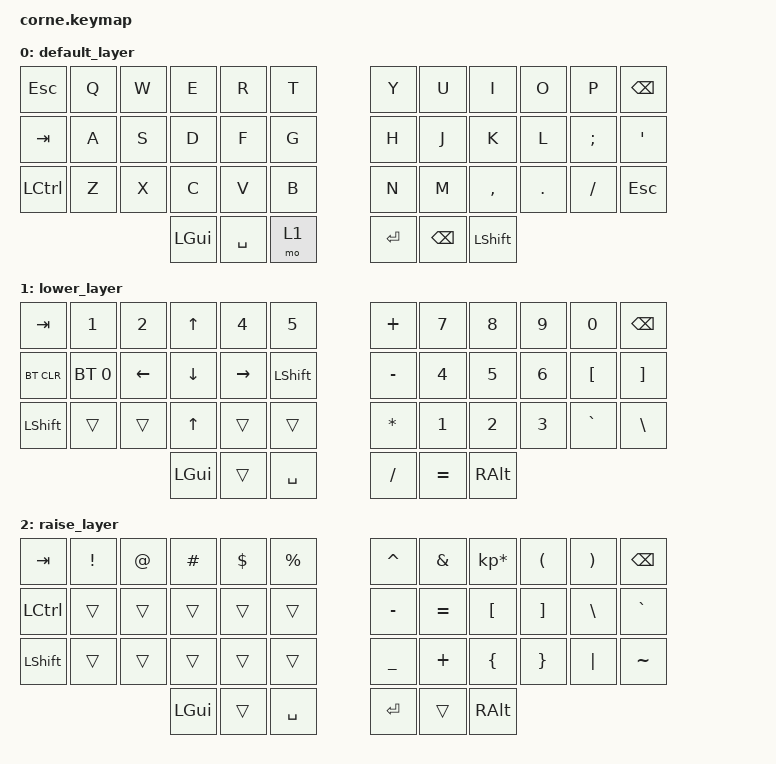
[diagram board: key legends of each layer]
/*
 * Copyright (c) 2020 The ZMK Contributors
 *
 * SPDX-License-Identifier: MIT
 */

#include <behaviors.dtsi>
#include <dt-bindings/zmk/keys.h>
#include <dt-bindings/zmk/bt.h>

/ {
        keymap {
                compatible = "zmk,keymap";

                default_layer {
// -----------------------------------------------------------------------------------------
// |  TAB |  Q  |  W  |  E  |  R  |  T  |   |  Y  |  U   |  I  |  O  |  P  | BKSP |
// | CTRL |  A  |  S  |  D  |  F  |  G  |   |  H  |  J   |  K  |  L  |  ;  |  '   |
// | SHFT |  Z  |  X  |  C  |  V  |  B  |   |  N  |  M   |  ,  |  .  |  /  | ESC  |
//                    | GUI | LWR | SPC |   | ENT | RSE  | ALT |
                        bindings = <
   &kp ESC   &kp Q &kp W &kp E &kp R &kp T   &kp Y &kp U  &kp I     &kp O   &kp P    &kp BSPC
   &kp TAB &kp A &kp S &kp D &kp F &kp G   &kp H &kp J  &kp K     &kp L   &kp SEMI &kp SQT
   &kp LCTRL &kp Z &kp X &kp C &kp V &kp B   &kp N &kp M  &kp COMMA &kp DOT &kp FSLH &kp ESC
                  &kp LGUI &kp SPACE &mo 1   &kp RET &kp BSPC &kp LSHFT
                        >;
                };
                lower_layer {
// -----------------------------------------------------------------------------------------
// |  TAB |  1  |  2  |  3  |  4  |  5  |   |  6  |  7  |  8  |  9  |  0  | BKSP |
// | BTCLR| BT1 | BT2 | BT3 | BT4 | BT5 |   | LFT | DWN |  UP | RGT |     |      |
// | SHFT |     |     |     |     |     |   |     |     |     |     |     |      |
//                    | GUI |     | SPC |   | ENT |     | ALT |
                        bindings = <
   &kp TAB    &kp N1       &kp N2       &kp UP       &kp N4       &kp N5         &kp PLUS   &kp N7   &kp N8 &kp N9    &kp N0 &kp BSPC
   &bt BT_CLR &bt BT_SEL 0 &kp LEFT     &kp DOWN     &kp RIGHT    &kp LSHFT      &kp MINUS &kp N4 &kp N5 &kp N6 &kp LBKT &kp RBKT
   &kp LSHFT  &trans       &trans       &kp UP       &trans       &trans         &kp STAR   &kp N1   &kp N2 &kp N3    &kp GRAVE &kp BSLH
                          	        &kp LGUI     &trans       &kp SPACE      &kp SLASH  &kp EQUAL   &kp RALT
                        >;
                };

                raise_layer {
// -----------------------------------------------------------------------------------------
// |  TAB |  !  |  @  |  #  |  $  |  %  |   |  ^  |  &  |  *  |  (  |  )  | BKSP |
// | CTRL |     |     |     |     |     |   |  -  |  =  |  [  |  ]  |  \  |  `   |
// | SHFT |     |     |     |     |     |   |  _  |  +  |  {  |  }  | "|" |  ~   |
//                    | GUI |     | SPC |   | ENT |     | ALT |
                        bindings = <
   &kp  TAB  &kp EXCL &kp AT &kp HASH &kp DLLR &kp PRCNT   &kp CARET &kp AMPS  &kp KP_MULTIPLY &kp LPAR &kp RPAR &kp BSPC
   &kp LCTRL &trans   &trans &trans   &trans   &trans      &kp MINUS &kp EQUAL &kp LBKT        &kp RBKT &kp BSLH &kp GRAVE
   &kp LSHFT &trans   &trans &trans   &trans   &trans      &kp UNDER &kp PLUS  &kp LBRC        &kp RBRC &kp PIPE &kp TILDE
                    	     &kp LGUI &trans   &kp SPACE   &kp RET   &trans    &kp RALT
                        >;
                };
        };
};
